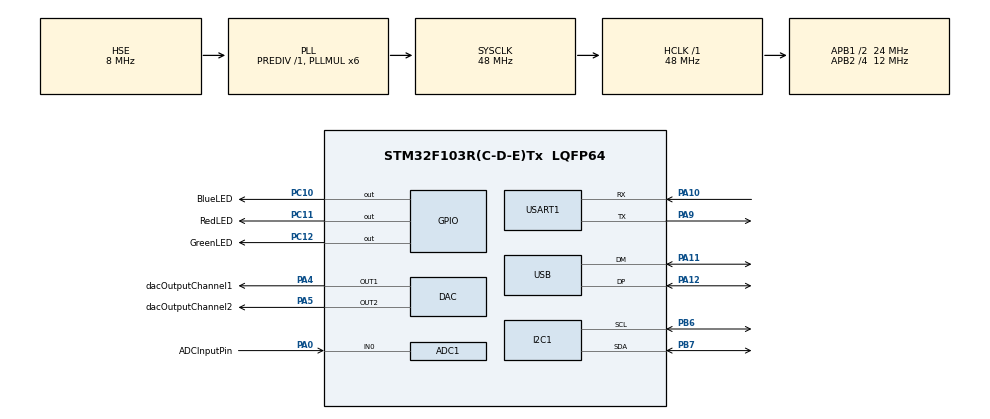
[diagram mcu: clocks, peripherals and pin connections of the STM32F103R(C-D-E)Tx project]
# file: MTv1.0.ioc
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ADC1.Channel-0\#ChannelRegularConversion=ADC_CHANNEL_0
ADC1.Channel-2\#ChannelRegularConversion=ADC_CHANNEL_TEMPSENSOR
ADC1.ContinuousConvMode=ENABLE
ADC1.NbrOfConversion=2
ADC1.NbrOfConversionFlag=1
ADC1.Rank-0\#ChannelRegularConversion=1
ADC1.Rank-2\#ChannelRegularConversion=2
ADC1.SamplingTime-0\#ChannelRegularConversion=ADC_SAMPLETIME_1CYCLE_5
ADC1.SamplingTime-2\#ChannelRegularConversion=ADC_SAMPLETIME_1CYCLE_5
ADC1.master=1
Dma.ADC1.0.Direction=DMA_PERIPH_TO_MEMORY
Dma.ADC1.0.Instance=DMA1_Channel1
Dma.ADC1.0.MemDataAlignment=DMA_MDATAALIGN_WORD
Dma.ADC1.0.MemInc=DMA_MINC_ENABLE
Dma.ADC1.0.Mode=DMA_CIRCULAR
Dma.ADC1.0.PeriphDataAlignment=DMA_PDATAALIGN_WORD
Dma.ADC1.0.PeriphInc=DMA_PINC_DISABLE
Dma.ADC1.0.Priority=DMA_PRIORITY_LOW
Dma.I2C1_RX.1.Direction=DMA_PERIPH_TO_MEMORY
Dma.I2C1_RX.1.Instance=DMA1_Channel7
Dma.I2C1_RX.1.MemDataAlignment=DMA_MDATAALIGN_BYTE
Dma.I2C1_RX.1.MemInc=DMA_MINC_ENABLE
Dma.I2C1_RX.1.Mode=DMA_CIRCULAR
Dma.I2C1_RX.1.PeriphDataAlignment=DMA_PDATAALIGN_BYTE
Dma.I2C1_RX.1.PeriphInc=DMA_PINC_DISABLE
Dma.I2C1_RX.1.Priority=DMA_PRIORITY_LOW
Dma.I2C1_TX.2.Direction=DMA_MEMORY_TO_PERIPH
Dma.I2C1_TX.2.Instance=DMA1_Channel6
Dma.I2C1_TX.2.MemDataAlignment=DMA_MDATAALIGN_BYTE
Dma.I2C1_TX.2.MemInc=DMA_MINC_ENABLE
Dma.I2C1_TX.2.Mode=DMA_NORMAL
Dma.I2C1_TX.2.PeriphDataAlignment=DMA_PDATAALIGN_BYTE
Dma.I2C1_TX.2.PeriphInc=DMA_PINC_DISABLE
Dma.I2C1_TX.2.Priority=DMA_PRIORITY_LOW
Dma.Request0=ADC1
Dma.Request1=I2C1_RX
Dma.Request2=I2C1_TX
Mcu.Family=STM32F1
Mcu.Name=STM32F103R(C-D-E)Tx
Mcu.Package=LQFP64
NVIC.DMA1_Channel1_IRQn=true\:0\:0\:false\:true\:true\:3\:false
NVIC.DMA1_Channel6_IRQn=true\:0\:0\:false\:false\:true\:false
NVIC.DMA1_Channel7_IRQn=true\:0\:0\:false\:false\:true\:false
NVIC.I2C1_ER_IRQn=true\:0\:0\:false\:true\:true\:6\:true
NVIC.I2C1_EV_IRQn=true\:0\:0\:false\:true\:true\:5\:true
NVIC.PriorityGroup=NVIC_PRIORITYGROUP_4
NVIC.TIM4_IRQn=true\:0\:0\:false\:true\:true\:4\:true
NVIC.USART1_IRQn=true\:0\:0\:false\:true\:true\:1\:true
NVIC.USB_LP_CAN1_RX0_IRQn=true\:0\:0\:false\:true\:true\:2\:false
PA0-WKUP.GPIO_Label=ADCInputPin
PA0-WKUP.Signal=ADCx_IN0
PA10.Mode=Asynchronous
PA10.Signal=USART1_RX
PA11.Mode=Device
PA11.Signal=USB_DM
PA12.Mode=Device
PA12.Signal=USB_DP
PA13.Mode=Serial_Wire
PA13.Signal=SYS_JTMS-SWDIO
PA14.Mode=Serial_Wire
PA14.Signal=SYS_JTCK-SWCLK
PA4.GPIO_Label=dacOutputChannel1
PA4.Signal=COMP_DAC1_group
PA5.GPIO_Label=dacOutputChannel2
PA5.Signal=COMP_DAC2_group
PA9.Mode=Asynchronous
PA9.Signal=USART1_TX
PB6.Mode=I2C
PB6.Signal=I2C1_SCL
PB7.Mode=I2C
PB7.Signal=I2C1_SDA
PC10.GPIO_Label=BlueLED
PC10.Signal=GPIO_Output
PC11.GPIO_Label=RedLED
PC11.Signal=GPIO_Output
PC12.GPIO_Label=GreenLED
PC12.Signal=GPIO_Output
PD0-OSC_IN.Mode=HSE-External-Oscillator
PD0-OSC_IN.Signal=RCC_OSC_IN
PD1-OSC_OUT.Mode=HSE-External-Oscillator
PD1-OSC_OUT.Signal=RCC_OSC_OUT
ProjectManager.HeapSize=0x200
ProjectManager.StackSize=0x400
ProjectManager.TargetToolchain=EWARM
RCC.ADCPresc=RCC_ADCPCLK2_DIV6
RCC.AHBFreq_Value=48000000
RCC.APB1CLKDivider=RCC_HCLK_DIV2
RCC.APB1Freq_Value=24000000
RCC.APB1TimFreq_Value=48000000
RCC.APB2CLKDivider=RCC_HCLK_DIV4
RCC.APB2Freq_Value=12000000
RCC.APB2TimCLKDivider=2
RCC.APB2TimFreq_Value=24000000
RCC.HCLKFreq_Value=48000000
RCC.PLLMUL=RCC_PLL_MUL6
RCC.SYSCLKFreq_VALUE=48000000
RCC.SYSCLKSource=RCC_SYSCLKSOURCE_PLLCLK
RCC.USBFreq_Value=48000000
SH.ADCx_IN0.0=ADC1_IN0,IN0
SH.COMP_DAC1_group.0=DAC_OUT1,DAC_OUT1
SH.COMP_DAC2_group.0=DAC_OUT2,DAC_OUT2
TIM4.AutoReloadPreload=TIM_AUTORELOAD_PRELOAD_ENABLE
TIM4.Period=1000-1
TIM4.Prescaler=48-1
USART1.VirtualMode=VM_ASYNC
USB_DEVICE.CLASS_NAME_FS=CDC
USB_DEVICE.VirtualMode=Cdc
USB_DEVICE.VirtualModeFS=Cdc_FS
VP_ADC1_TempSens_Input.Mode=IN-TempSens
VP_TIM4_VS_ClockSourceINT.Mode=Internal
VP_USB_DEVICE_VS_USB_DEVICE_CDC_FS.Mode=CDC_FS
board=MTv1.0

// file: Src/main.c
/**
  ******************************************************************************
  * File Name          : main.c
  * Description        : Main program body
  ******************************************************************************
  * This notice applies to any and all portions of this file
  * that are not between comment pairs USER CODE BEGIN and
  * USER CODE END. Other portions of this file, whether
  * inserted by the user or by software development tools
  * are owned by their respective copyright owners.
  *
  * Copyright (c) 2017 STMicroelectronics International N.V.
  * All rights reserved.
  *
  * Redistribution and use in source and binary forms, with or without
  * modification, are permitted, provided that the following conditions are met:
  *
  * 1. Redistribution of source code must retain the above copyright notice,
  *    this list of conditions and the following disclaimer.
  * 2. Redistributions in binary form must reproduce the above copyright notice,
  *    this list of conditions and the following disclaimer in the documentation
  *    and/or other materials provided with the distribution.
  * 3. Neither the name of STMicroelectronics nor the names of other
  *    contributors to this software may be used to endorse or promote products
  *    derived from this software without specific written permission.
  * 4. This software, including modifications and/or derivative works of this
  *    software, must execute solely and exclusively on microcontroller or
  *    microprocessor devices manufactured by or for STMicroelectronics.
  * 5. Redistribution and use of this software other than as permitted under
  *    this license is void and will automatically terminate your rights under
  *    this license.
  *
  * THIS SOFTWARE IS PROVIDED BY STMICROELECTRONICS AND CONTRIBUTORS "AS IS"
  * AND ANY EXPRESS, IMPLIED OR STATUTORY WARRANTIES, INCLUDING, BUT NOT
  * LIMITED TO, THE IMPLIED WARRANTIES OF MERCHANTABILITY, FITNESS FOR A
  * PARTICULAR PURPOSE AND NON-INFRINGEMENT OF THIRD PARTY INTELLECTUAL PROPERTY
  * RIGHTS ARE DISCLAIMED TO THE FULLEST EXTENT PERMITTED BY LAW. IN NO EVENT
  * SHALL STMICROELECTRONICS OR CONTRIBUTORS BE LIABLE FOR ANY DIRECT, INDIRECT,
  * INCIDENTAL, SPECIAL, EXEMPLARY, OR CONSEQUENTIAL DAMAGES (INCLUDING, BUT NOT
  * LIMITED TO, PROCUREMENT OF SUBSTITUTE GOODS OR SERVICES; LOSS OF USE, DATA,
  * OR PROFITS; OR BUSINESS INTERRUPTION) HOWEVER CAUSED AND ON ANY THEORY OF
  * LIABILITY, WHETHER IN CONTRACT, STRICT LIABILITY, OR TORT (INCLUDING
  * NEGLIGENCE OR OTHERWISE) ARISING IN ANY WAY OUT OF THE USE OF THIS SOFTWARE,
  * EVEN IF ADVISED OF THE POSSIBILITY OF SUCH DAMAGE.
  *
  ******************************************************************************
  */
#include "main.h"
#include "stm32f1xx_hal.h"
#include "adc.h"
#include "dac.h"
#include "dma.h"
#include "i2c.h"
#include "tim.h"
#include "usart.h"
#include "usb_device.h"
#include "gpio.h"

/* USER CODE BEGIN Includes */
#include "usbd_cdc_if.h"
#include "usbd_cdc.h"

/* USER CODE END Includes */

/* USER CODE BEGIN PV */
/* Private variables ---------------------------------------------------------*/
#define ADDR_PCF8591_Write  0x90
#define ADDR_PCF8591_Read   0x91

uint8_t gUSBFlag = 0;
uint8_t gTIMADCFlag;
uint8_t gI2CValueBuff[20] = {0xAA};
uint8_t gADCAndTempValue[6] = {0};
uint32_t gADCValueBuf[50];
uint16_t gADC1;
uint16_t gTempChannel;
uint16_t gTIM4Cnt = 0;
uint8_t gi = 0;

/* USER CODE END PV */

void SystemClock_Config(void);
static void MX_NVIC_Init(void);

/* USER CODE BEGIN PFP */
/* Private function prototypes -----------------------------------------------*/

/* USER CODE END PFP */

int main(void)
{

  /* USER CODE BEGIN 1 */
  //uint8_t i = 0;
  gADCAndTempValue[0] = 0xFF;
  gADCAndTempValue[1] = 0xFF;

  /* USER CODE END 1 */

  /* MCU Configuration----------------------------------------------------------*/

  /* Reset of all peripherals, Initializes the Flash interface and the Systick. */
  HAL_Init();

  /* Configure the system clock */
  SystemClock_Config();

  /* Initialize all configured peripherals */
  MX_GPIO_Init();
  MX_DMA_Init();
  MX_ADC1_Init();
  MX_DAC_Init();
  MX_TIM4_Init();
  MX_USART1_UART_Init();
  MX_USB_DEVICE_Init();
  MX_I2C1_Init();

  /* Initialize interrupts */
  MX_NVIC_Init();

  /* USER CODE BEGIN 2 */
  HAL_TIM_Base_Start_IT(&htim4);
  HAL_ADC_Start_DMA(&hadc1, (uint32_t*)&gADCValueBuf,50);

  /* USER CODE END 2 */

  /* Infinite loop */
  while (1)
  {

  /* USER CODE BEGIN 3 */
    if(1 == gUSBFlag && 1 == gTIMADCFlag)
    {
//      for(i = 0, gADC1 = 0, gTempChannel = 0; i < 50;)
//      {
//        gADC1 += gADCValueBuf[i++];
//        gTempChannel += gADCValueBuf[i++];
//      }
//      gADC1 /= 25;
//      gTempChannel /= 25;
//
//      gADCAndTempValue[2] = (uint8_t)(gADC1 >> 8);
//      gADCAndTempValue[3] = (uint8_t) gADC1;
//
//      gADCAndTempValue[4] = (uint8_t)(gTempChannel >> 8);
//      gADCAndTempValue[5] = (uint8_t) gTempChannel;

      CDC_Transmit_FS(gADCAndTempValue,6);

//      HAL_I2C_Master_Transmit(&hi2c1,ADDR_PCF8591_Write,gI2CValueBuff,20,0xFFFF);

      gTIMADCFlag = 0;
    }

  }
  /* USER CODE END 3 */

}

/** System Clock Configuration
*/
void SystemClock_Config(void)
{

  RCC_OscInitTypeDef RCC_OscInitStruct;
  RCC_ClkInitTypeDef RCC_ClkInitStruct;
  RCC_PeriphCLKInitTypeDef PeriphClkInit;

    /**Initializes the CPU, AHB and APB busses clocks
    */
  RCC_OscInitStruct.OscillatorType = RCC_OSCILLATORTYPE_HSE;
  RCC_OscInitStruct.HSEState = RCC_HSE_ON;
  RCC_OscInitStruct.HSEPredivValue = RCC_HSE_PREDIV_DIV1;
  RCC_OscInitStruct.HSIState = RCC_HSI_ON;
  RCC_OscInitStruct.PLL.PLLState = RCC_PLL_ON;
  RCC_OscInitStruct.PLL.PLLSource = RCC_PLLSOURCE_HSE;
  RCC_OscInitStruct.PLL.PLLMUL = RCC_PLL_MUL6;
  if (HAL_RCC_OscConfig(&RCC_OscInitStruct) != HAL_OK)
  {
    _Error_Handler(__FILE__, __LINE__);
  }

    /**Initializes the CPU, AHB and APB busses clocks
    */
  RCC_ClkInitStruct.ClockType = RCC_CLOCKTYPE_HCLK|RCC_CLOCKTYPE_SYSCLK
                              |RCC_CLOCKTYPE_PCLK1|RCC_CLOCKTYPE_PCLK2;
  RCC_ClkInitStruct.SYSCLKSource = RCC_SYSCLKSOURCE_PLLCLK;
  RCC_ClkInitStruct.AHBCLKDivider = RCC_SYSCLK_DIV1;
  RCC_ClkInitStruct.APB1CLKDivider = RCC_HCLK_DIV2;
  RCC_ClkInitStruct.APB2CLKDivider = RCC_HCLK_DIV4;

  if (HAL_RCC_ClockConfig(&RCC_ClkInitStruct, FLASH_LATENCY_1) != HAL_OK)
  {
    _Error_Handler(__FILE__, __LINE__);
  }

  PeriphClkInit.PeriphClockSelection = RCC_PERIPHCLK_ADC|RCC_PERIPHCLK_USB;
  PeriphClkInit.AdcClockSelection = RCC_ADCPCLK2_DIV6;
  PeriphClkInit.UsbClockSelection = RCC_USBCLKSOURCE_PLL;
  if (HAL_RCCEx_PeriphCLKConfig(&PeriphClkInit) != HAL_OK)
  {
    _Error_Handler(__FILE__, __LINE__);
  }

    /**Configure the Systick interrupt time
    */
  HAL_SYSTICK_Config(HAL_RCC_GetHCLKFreq()/1000);

    /**Configure the Systick
    */
  HAL_SYSTICK_CLKSourceConfig(SYSTICK_CLKSOURCE_HCLK);

  /* SysTick_IRQn interrupt configuration */
  HAL_NVIC_SetPriority(SysTick_IRQn, 0, 0);
}

/** NVIC Configuration
*/
static void MX_NVIC_Init(void)
{
  /* USART1_IRQn interrupt configuration */
  HAL_NVIC_SetPriority(USART1_IRQn, 0, 0);
  HAL_NVIC_EnableIRQ(USART1_IRQn);
  /* USB_LP_CAN1_RX0_IRQn interrupt configuration */
  HAL_NVIC_SetPriority(USB_LP_CAN1_RX0_IRQn, 0, 0);
  HAL_NVIC_EnableIRQ(USB_LP_CAN1_RX0_IRQn);
  /* DMA1_Channel1_IRQn interrupt configuration */
  HAL_NVIC_SetPriority(DMA1_Channel1_IRQn, 0, 0);
  HAL_NVIC_EnableIRQ(DMA1_Channel1_IRQn);
  /* TIM4_IRQn interrupt configuration */
  HAL_NVIC_SetPriority(TIM4_IRQn, 0, 0);
  HAL_NVIC_EnableIRQ(TIM4_IRQn);
  /* I2C1_EV_IRQn interrupt configuration */
  HAL_NVIC_SetPriority(I2C1_EV_IRQn, 0, 0);
  HAL_NVIC_EnableIRQ(I2C1_EV_IRQn);
  /* I2C1_ER_IRQn interrupt configuration */
  HAL_NVIC_SetPriority(I2C1_ER_IRQn, 0, 0);
  HAL_NVIC_EnableIRQ(I2C1_ER_IRQn);
}

/* USER CODE BEGIN 4 */
void HAL_TIM_PeriodElapsedCallback(TIM_HandleTypeDef *htim)
{
  /* Prevent unused argument(s) compilation warning */
  UNUSED(htim);
  /* NOTE : This function Should not be modified, when the callback is needed,
            the __HAL_TIM_PeriodElapsedCallback could be implemented in the user file
   */
  if(htim->Instance == htim4.Instance)
  {
    gTIM4Cnt ++;
    if(gTIM4Cnt > 5)
    {
      gTIMADCFlag = 1;
      gTIM4Cnt = 0;
    }

  }
}

void HAL_ADC_ConvCpltCallback(ADC_HandleTypeDef* hadc)
{
  /* Prevent unused argument(s) compilation warning */
  UNUSED(hadc);
  /* NOTE : This function should not be modified. When the callback is needed,
            function HAL_ADC_ConvCpltCallback must be implemented in the user file.
   */
  if(hadc->Instance == hadc1.Instance)
  {
      for(gi = 0, gADC1 = 0, gTempChannel = 0; gi < 50;)
      {
        gADC1 += gADCValueBuf[gi++];
        gTempChannel += gADCValueBuf[gi++];
      }
      gADC1 /= 25;
      gTempChannel /= 25;

      gADCAndTempValue[2] = (uint8_t)(gADC1 >> 8);
      gADCAndTempValue[3] = (uint8_t) gADC1;

      gADCAndTempValue[4] = (uint8_t)(gTempChannel >> 8);
      gADCAndTempValue[5] = (uint8_t) gTempChannel;
  }
}

/* USER CODE END 4 */

void _Error_Handler(char * file, int line)
{
  while(1)
  {
  }
}

/************************ (C) COPYRIGHT STMicroelectronics *****END OF FILE****/
